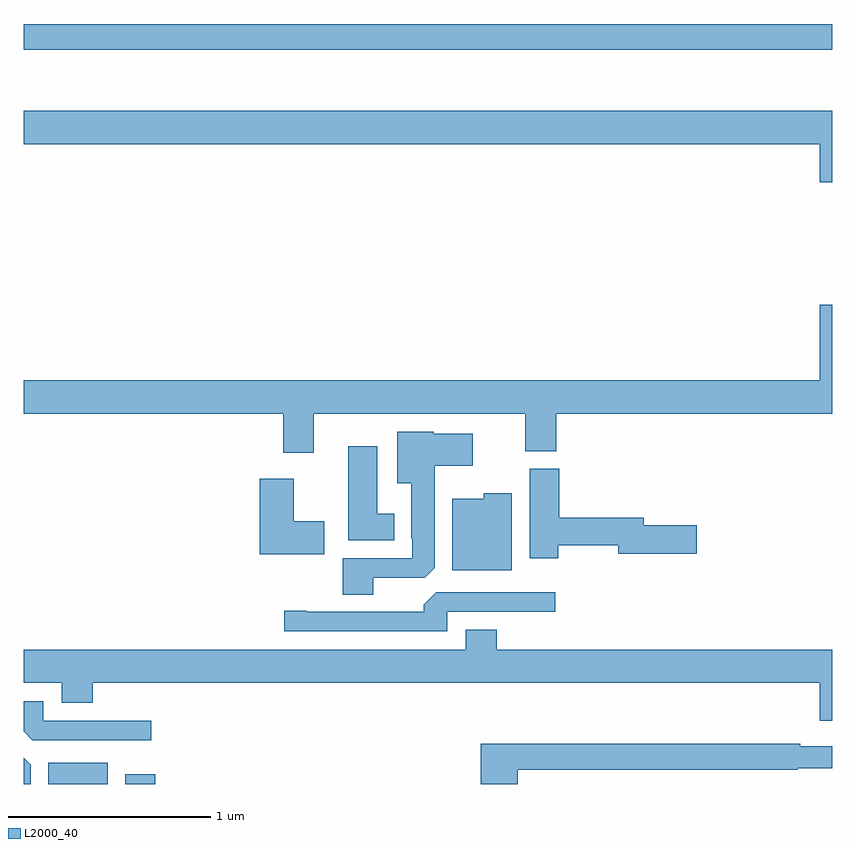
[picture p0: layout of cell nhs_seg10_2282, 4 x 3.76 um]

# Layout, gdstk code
import gdstk
lib = gdstk.Library(unit=1e-6, precision=1e-09)
def R(c, l, rs):  # rectangles x0, y0, x1, y1
    for r in rs: c.add(gdstk.rectangle(r[:2], r[2:], *l))
def P(c, l, *ps):  # polygons
    for p in ps: c.add(gdstk.Polygon(p, *l))
L2000_40 = (2000, 40)

nhs_seg10_2282 = lib.new_cell('nhs_seg10_2282')
R(nhs_seg10_2282, L2000_40, [(233.123,1282.5,233.416,1282.606), (233.504,1282.5,233.651,1282.549), (233,1286.13,237,1286.258)])
P(nhs_seg10_2282, L2000_40, [(237,1285.828),(233,1285.828),(233,1285.664),(236.936,1285.664),(236.936,1285.476),(237,1285.476)],
  [(234.436,1284.332),(235.481,1284.332),(235.481,1284.145),(235.634,1284.145),(235.634,1284.332),(237,1284.332),(237,1284.871),(236.936,1284.871),(236.936,1284.496),(233,1284.496),(233,1284.332),(234.284,1284.332),(234.284,1284.138),(234.436,1284.138)],
  [(234.73,1283.52),(234.984,1283.52),(235.033,1283.569),(235.033,1284.074),(235.222,1284.074),(235.222,1284.232),(235.029,1284.232),(235.029,1284.241),(234.848,1284.241),(234.848,1283.987),(234.917,1283.987),(234.917,1283.713),(234.921,1283.713),(234.921,1283.616),(234.578,1283.616),(234.578,1283.437),(234.73,1283.437)],
  [(234.832,1283.836),(234.748,1283.836),(234.748,1284.169),(234.605,1284.169),(234.605,1283.705),(234.832,1283.705)],
  [(235.644,1283.68),(235.94,1283.68),(235.94,1283.638),(236.329,1283.638),(236.329,1283.78),(236.068,1283.78),(236.068,1283.816),(235.649,1283.816),(235.649,1284.06),(235.502,1284.06),(235.502,1283.616),(235.644,1283.616)],
  [(234.487,1283.799),(234.337,1283.799),(234.337,1284.01),(234.167,1284.01),(234.167,1283.636),(234.487,1283.636)],
  [(235.414,1283.938),(235.275,1283.938),(235.275,1283.911),(235.121,1283.911),(235.121,1283.558),(235.414,1283.558)],
  [(235.095,1283.352),(235.63,1283.352),(235.63,1283.448),(235.041,1283.448),(234.98,1283.386),(234.98,1283.352),(234.4,1283.352),(234.4,1283.357),(234.288,1283.357),(234.288,1283.256),(235.095,1283.256)],
  [(237,1283.164),(235.34,1283.164),(235.34,1283.263),(235.187,1283.263),(235.187,1283.164),(233,1283.164),(233,1283),(233.189,1283),(233.189,1282.901),(233.342,1282.901),(233.342,1283),(236.936,1283),(236.936,1282.812),(237,1282.812)],
  [(233.632,1282.812),(233.097,1282.812),(233.097,1282.908),(233,1282.908),(233,1282.76),(233.043,1282.716),(233.632,1282.716)],
  [(235.445,1282.57),(236.828,1282.57),(236.828,1282.578),(237,1282.578),(237,1282.686),(236.84,1282.686),(236.84,1282.699),(235.262,1282.699),(235.262,1282.5),(235.445,1282.5)],
  [(233.035,1282.595),(233,1282.63),(233,1282.5),(233.035,1282.5)])

lib.write_gds('nhs_seg10_2282.gds')
